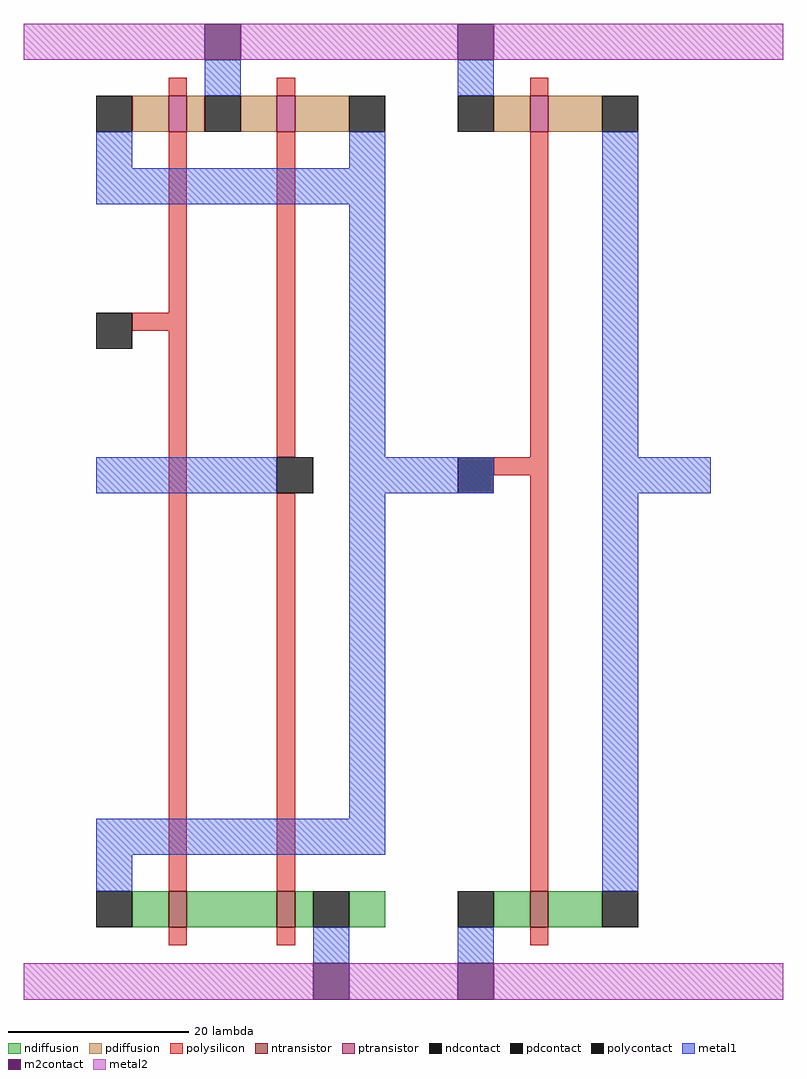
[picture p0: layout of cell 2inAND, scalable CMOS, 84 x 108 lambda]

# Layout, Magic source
magic
tech scmos
<< polysilicon >>
rect 16 100 18 102
rect 28 100 30 102
rect 16 76 18 96
rect 12 74 18 76
rect 16 12 18 74
rect 28 60 30 96
rect 28 12 30 56
rect 16 6 18 8
rect 28 6 30 8
<< ndiffusion >>
rect 12 8 16 12
rect 18 8 28 12
rect 30 8 32 12
rect 36 8 40 12
<< pdiffusion >>
rect 12 96 16 100
rect 18 96 20 100
rect 24 96 28 100
rect 30 96 36 100
<< metal1 >>
rect 20 100 24 104
rect 8 92 12 96
rect 36 92 40 96
rect 8 88 40 92
rect 36 60 40 88
rect 8 56 28 60
rect 36 56 52 60
rect 64 56 76 60
rect 36 20 40 56
rect 8 16 40 20
rect 8 12 12 16
rect 32 4 36 8
<< metal2 >>
rect 0 104 20 108
rect 24 104 40 108
rect 76 104 84 108
rect 0 0 32 4
rect 36 0 40 4
rect 76 0 84 4
<< ntransistor >>
rect 16 8 18 12
rect 28 8 30 12
<< ptransistor >>
rect 16 96 18 100
rect 28 96 30 100
<< polycontact >>
rect 8 72 12 76
rect 28 56 32 60
<< ndcontact >>
rect 8 8 12 12
rect 32 8 36 12
<< pdcontact >>
rect 8 96 12 100
rect 20 96 24 100
rect 36 96 40 100
<< m2contact >>
rect 20 104 24 108
rect 32 0 36 4
use inverter  inverter_0
transform 1 0 40 0 1 0
box 0 0 36 108
<< end >>

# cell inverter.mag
magic
tech scmos
<< polysilicon >>
rect 16 100 18 102
rect 16 60 18 96
rect 12 58 18 60
rect 16 12 18 58
rect 16 6 18 8
<< ndiffusion >>
rect 12 8 16 12
rect 18 8 24 12
<< pdiffusion >>
rect 12 96 16 100
rect 18 96 24 100
<< metal1 >>
rect 8 100 12 104
rect 24 12 28 96
rect 8 4 12 8
<< metal2 >>
rect 0 104 8 108
rect 12 104 36 108
rect 0 0 8 4
rect 12 0 36 4
<< ntransistor >>
rect 16 8 18 12
<< ptransistor >>
rect 16 96 18 100
<< polycontact >>
rect 8 56 12 60
<< ndcontact >>
rect 8 8 12 12
rect 24 8 28 12
<< pdcontact >>
rect 8 96 12 100
rect 24 96 28 100
<< m2contact >>
rect 8 104 12 108
rect 8 0 12 4
<< end >>
